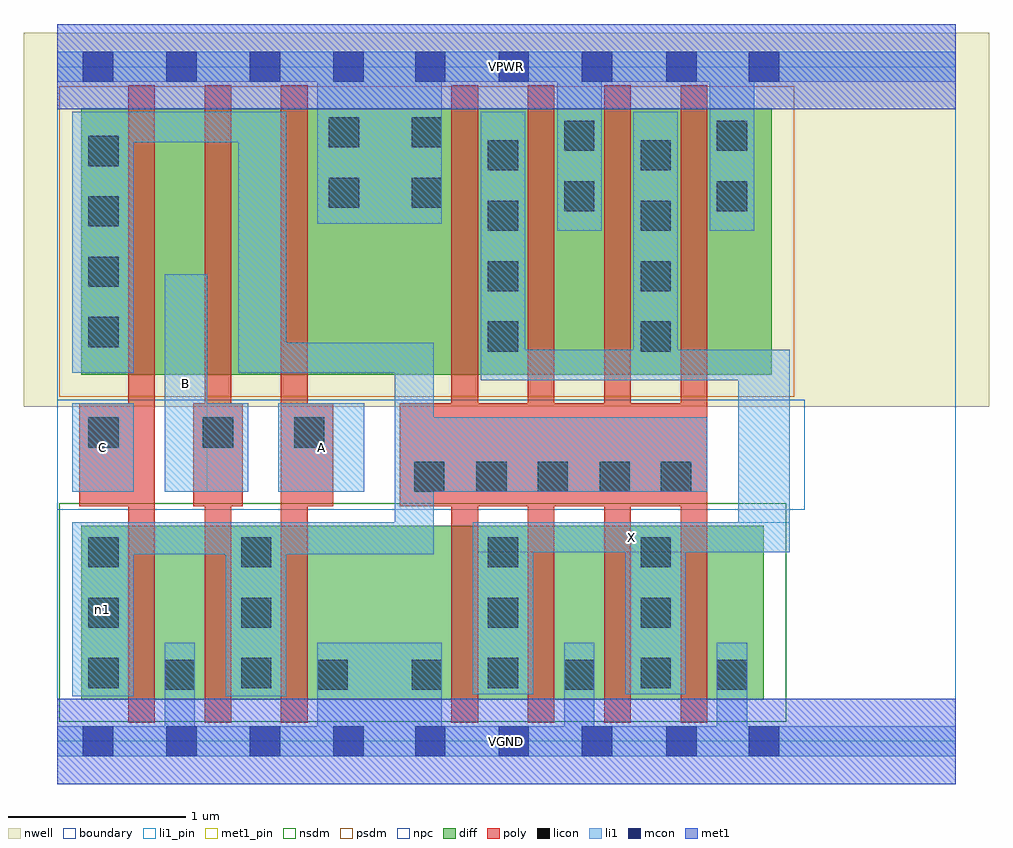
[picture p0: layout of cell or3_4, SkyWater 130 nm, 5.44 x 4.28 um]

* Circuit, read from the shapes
.subckt or3_4 A B C VGND VPWR X n1
XM1 VGND C n1 VSUBS sky130_fd_pr__nfet_01v8 w=0.98 l=0.15
XM2 n1 B VGND VSUBS sky130_fd_pr__nfet_01v8 w=0.98 l=0.15
XM3 VGND A n1 VSUBS sky130_fd_pr__nfet_01v8 w=0.98 l=0.15
XM4 X n1 VGND VSUBS sky130_fd_pr__nfet_01v8 w=0.98 l=0.15 m=4
XM5 n2 C n1 n3 sky130_fd_pr__pfet_01v8 w=1.5 l=0.15
XM6 n4 B n2 n3 sky130_fd_pr__pfet_01v8 w=1.5 l=0.15
XM7 VPWR A n4 n3 sky130_fd_pr__pfet_01v8 w=1.5 l=0.15
XM8 X n1 VPWR n3 sky130_fd_pr__pfet_01v8 w=1.5 l=0.15 m=4
.ends

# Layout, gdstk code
import gdstk
lib = gdstk.Library(unit=1e-6, precision=1e-09)
def R(c, l, rs):  # rectangles x0, y0, x1, y1
    for r in rs: c.add(gdstk.rectangle(r[:2], r[2:], *l))
def A(c, l, x, y, w, h, nx, ny, dx, dy):  # array of equal rectangles
    R(c, l, [(x+i*dx, y+j*dy, x+i*dx+w, y+j*dy+h) for i in range(nx) for j in range(ny)])
nwell = (64, 20)
diff = (65, 20)
poly = (66, 20)
licon = (66, 44)
li1_pin = (67, 16)
li1 = (67, 20)
mcon = (67, 44)
met1_pin = (68, 16)
met1 = (68, 20)
nsdm = (93, 44)
psdm = (94, 20)
npc = (95, 20)
boundary = (235, 4)

or3_4 = lib.new_cell('or3_4')
R(or3_4, nwell, [(-0.19,1.885,5.25,3.99), (0,1.885,5.06,3.99)])
R(or3_4, diff, [(0.135,0.235,3.98,1.215), (0.135,2.065,4.025,3.565)])
A(or3_4, poly, 0.4, 0.105, 0.15, 3.59, 3, 1, 0.43, 0)
A(or3_4, poly, 2.22, 0.105, 0.15, 3.59, 4, 1, 0.43, 0)
R(or3_4, poly, [(0.125,1.325,0.55,1.905), (0.765,1.325,1.045,1.905), (1.26,1.325,1.555,1.905), (1.93,1.325,3.66,1.905)])
A(or3_4, licon, 1.995, 0.29, 0.17, 0.17, 3, 1, 0.86, 0)
A(or3_4, licon, 0.175, 0.3, 0.17, 0.17, 1, 3, 0, 0.34)
A(or3_4, licon, 1.035, 0.3, 0.17, 0.17, 1, 3, 0, 0.34)
A(or3_4, licon, 2.425, 0.3, 0.17, 0.17, 1, 3, 0, 0.34)
A(or3_4, licon, 3.285, 0.3, 0.17, 0.17, 1, 3, 0, 0.34)
A(or3_4, licon, 2.425, 2.195, 0.17, 0.17, 1, 4, 0, 0.34)
A(or3_4, licon, 3.285, 2.195, 0.17, 0.17, 1, 4, 0, 0.34)
A(or3_4, licon, 0.175, 2.22, 0.17, 0.17, 1, 4, 0, 0.34)
R(or3_4, licon, [(0.605,0.29,0.775,0.46), (1.465,0.29,1.635,0.46), (2.01,1.405,2.18,1.575), (2.36,1.405,2.53,1.575), (2.705,1.405,2.875,1.575), (3.055,1.405,3.225,1.575), (3.4,1.405,3.57,1.575), (0.175,1.655,0.345,1.825), (0.82,1.655,0.99,1.825), (1.335,1.655,1.505,1.825), (2.855,2.985,3.025,3.155), (3.715,2.985,3.885,3.155), (1.53,3.005,1.7,3.175), (1.995,3.005,2.165,3.175), (2.855,3.325,3.025,3.495), (3.715,3.325,3.885,3.495), (1.53,3.345,1.7,3.515), (1.995,3.345,2.165,3.515)])
R(or3_4, li1_pin, [(2.34,1.065,4.125,1.235), (0.085,1.405,0.43,1.905), (0.605,1.405,0.845,2.63), (1.245,1.405,1.73,1.905)])
R(or3_4, li1, [(0,-0.085,5.06,0.085), (0.605,-0.085,0.775,0.555), (1.465,-0.085,2.165,0.555), (2.855,-0.085,3.025,0.555), (3.715,-0.085,3.885,0.555), (0.085,0.255,0.43,1.235), (0.95,0.255,1.29,1.235), (2.34,0.265,2.68,1.235), (3.2,0.265,3.54,1.235), (0.085,1.055,2.12,1.235), (1.9,1.055,2.12,2.245), (2.34,1.065,4.125,1.235), (3.835,1.065,4.125,2.205), (0.085,1.405,0.43,1.905), (0.605,1.405,0.845,2.63), (0.605,1.405,1.075,1.905), (1.245,1.405,1.73,1.905), (1.9,1.405,3.66,1.825), (2.385,2.035,4.125,2.205), (2.385,2.035,2.635,3.545), (3.245,2.035,3.495,3.545), (0.085,2.075,0.43,3.545), (1.02,2.075,1.29,3.545), (1.02,2.075,2.12,2.245), (2.815,2.875,3.065,3.885), (3.675,2.875,3.925,3.885), (1.465,2.915,2.165,3.885), (0.085,3.375,1.29,3.545), (0,3.715,5.06,3.885)])
A(or3_4, mcon, 0.145, -0.085, 0.17, 0.17, 4, 2, 0.47, 3.8)
A(or3_4, mcon, 2.015, -0.085, 0.17, 0.17, 3, 2, 0.47, 3.8)
R(or3_4, mcon, [(3.43,-0.085,3.6,0.085), (3.895,-0.085,4.065,0.085), (3.43,3.715,3.6,3.885), (3.895,3.715,4.065,3.885)])
R(or3_4, met1_pin, [(0,-0.24,5.06,0.24), (0,3.56,5.06,4.04)])
R(or3_4, met1, [(0,-0.24,5.06,0.24), (0,3.56,5.06,4.04)])
R(or3_4, nsdm, [(0.01,0.11,4.105,1.34)])
R(or3_4, psdm, [(0.01,1.94,4.15,3.69)])
R(or3_4, npc, [(0,1.305,4.21,1.925)])
R(or3_4, boundary, [(0,0,5.06,3.8)])
or3_4.add(gdstk.Label('A', (1.487,1.655), layer=67, texttype=5))
or3_4.add(gdstk.Label('B', (0.725,2.017), layer=67, texttype=5))
or3_4.add(gdstk.Label('C', (0.257,1.655), layer=67, texttype=5))
or3_4.add(gdstk.Label('X', (3.232,1.15), layer=67, texttype=5))
or3_4.add(gdstk.Label('n1', (0.257,0.745), layer=67, texttype=5))
or3_4.add(gdstk.Label('VPWR', (2.53,3.8), layer=68, texttype=5))
or3_4.add(gdstk.Label('VGND', (2.53,0), layer=68, texttype=5))
or3_4.add(gdstk.Label('A', (1.487,1.655), layer=67, texttype=16))
or3_4.add(gdstk.Label('B', (0.725,2.017), layer=67, texttype=16))
or3_4.add(gdstk.Label('C', (0.257,1.655), layer=67, texttype=16))
or3_4.add(gdstk.Label('X', (3.232,1.15), layer=67, texttype=16))
or3_4.add(gdstk.Label('VPWR', (2.53,3.8), layer=68, texttype=16))
or3_4.add(gdstk.Label('VGND', (2.53,0), layer=68, texttype=16))

lib.write_gds('or3_4.gds')
